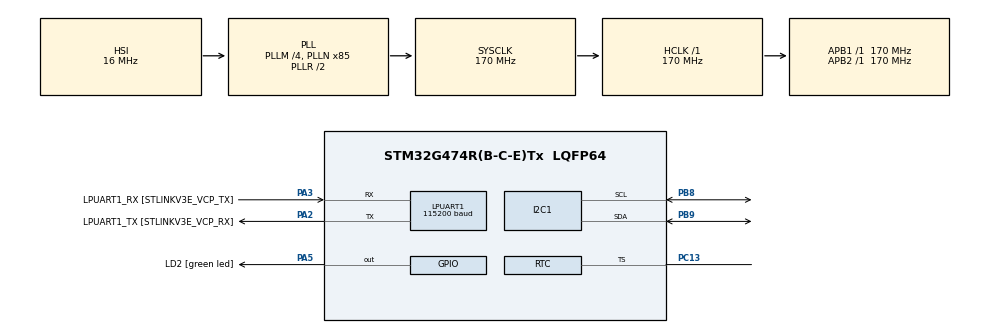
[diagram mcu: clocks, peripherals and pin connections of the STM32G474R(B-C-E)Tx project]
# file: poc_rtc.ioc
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I2C1.Timing=0x30A0A7FB
LPUART1.BaudRate=115200
LPUART1.WordLength=UART_WORDLENGTH_8B
Mcu.Family=STM32G4
Mcu.Name=STM32G474R(B-C-E)Tx
Mcu.Package=LQFP64
NVIC.PriorityGroup=NVIC_PRIORITYGROUP_4
NVIC.RTC_Alarm_IRQn=true\:0\:0\:false\:false\:true\:true\:true\:true
PA13.GPIO_Label=T_SWDIO
PA13.Mode=Serial_Wire
PA13.Signal=SYS_JTMS-SWDIO
PA14.GPIO_Label=T_SWCLK
PA14.Mode=Serial_Wire
PA14.Signal=SYS_JTCK-SWCLK
PA2.GPIO_Label=LPUART1_TX [STLINKV3E_VCP_RX]
PA2.Mode=Asynchronous
PA2.Signal=LPUART1_TX
PA3.GPIO_Label=LPUART1_RX [STLINKV3E_VCP_TX]
PA3.Mode=Asynchronous
PA3.Signal=LPUART1_RX
PA5.GPIO_Label=LD2 [green led]
PA5.Signal=GPIO_Output
PB3.GPIO_Label=T_SWO
PB3.Signal=SYS_JTDO-SWO
PB8-BOOT0.Mode=I2C
PB8-BOOT0.Signal=I2C1_SCL
PB9.Mode=I2C
PB9.Signal=I2C1_SDA
PC13.Mode=Timestamp enabled
PC13.Signal=RTC_TS
PC14-OSC32_IN.Mode=LSE-External-Oscillator
PC14-OSC32_IN.Signal=RCC_OSC32_IN
PC15-OSC32_OUT.Mode=LSE-External-Oscillator
PC15-OSC32_OUT.Signal=RCC_OSC32_OUT
PF0-OSC_IN.Mode=HSE-External-Oscillator
PF0-OSC_IN.Signal=RCC_OSC_IN
PF1-OSC_OUT.Mode=HSE-External-Oscillator
PF1-OSC_OUT.Signal=RCC_OSC_OUT
ProjectManager.HeapSize=0x200
ProjectManager.StackSize=0x400
ProjectManager.TargetToolchain=STM32CubeIDE
RCC.ADC12Freq_Value=170000000
RCC.ADC345Freq_Value=170000000
RCC.AHBFreq_Value=170000000
RCC.APB1Freq_Value=170000000
RCC.APB1TimFreq_Value=170000000
RCC.APB2Freq_Value=170000000
RCC.APB2TimFreq_Value=170000000
RCC.CortexFreq_Value=170000000
RCC.EXTERNAL_CLOCK_VALUE=12288000
RCC.HCLKFreq_Value=170000000
RCC.HSE_VALUE=24000000
RCC.HSI48_VALUE=48000000
RCC.HSI_VALUE=16000000
RCC.PLLM=RCC_PLLM_DIV4
RCC.PLLN=85
RCC.RTCClockSelection=RCC_RTCCLKSOURCE_LSE
RCC.SYSCLKFreq_VALUE=170000000
RCC.SYSCLKSource=RCC_SYSCLKSOURCE_PLLCLK
RCC.USBFreq_Value=170000000
RCC.VCOOutputFreq_Value=340000000
RTC.Alarm-Alarm\ A=RTC_ALARM_A
RTC.AlarmMaskDateWeekDay-Alarm\ A=RTC_ALARMMASK_DATEWEEKDAY
RTC.AlarmMaskHours-Alarm\ A=RTC_ALARMMASK_HOURS
RTC.AlarmMaskMinutes-Alarm\ A=RTC_ALARMMASK_MINUTES
RTC.Date=5
RTC.Hours=23
RTC.Minutes=32
RTC.Month=RTC_MONTH_NOVEMBER
RTC.Seconds_A-Alarm\ A=13
RTC.TimeStampEdge=RTC_TIMESTAMPEDGE_FALLING
RTC.WeekDay=RTC_WEEKDAY_TUESDAY
RTC.Year=24
VP_RTC_VS_RTC_Activate.Mode=RTC_Enabled
VP_RTC_VS_RTC_Alarm_A_Intern.Mode=Alarm A
VP_RTC_VS_RTC_Calendar.Mode=RTC_Calendar
VP_SYS_VS_DBSignals.Mode=DisableDeadBatterySignals
board=NUCLEO-G474RE

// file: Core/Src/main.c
/* USER CODE BEGIN Header */
/**
  ******************************************************************************
  * @file           : main.c
  * @brief          : Main program body
  ******************************************************************************
  * @attention
  *
  * Copyright (c) 2024 STMicroelectronics.
  * All rights reserved.
  *
  * This software is licensed under terms that can be found in the LICENSE file
  * in the root directory of this software component.
  * If no LICENSE file comes with this software, it is provided AS-IS.
  *
  ******************************************************************************
  */
/* USER CODE END Header */
#include "main.h"

/* USER CODE BEGIN Includes */
#include "stdio.h"
#include "ssd1306.h"
#include "ssd1306_fonts.h"
/* USER CODE END Includes */

I2C_HandleTypeDef hi2c1;

UART_HandleTypeDef hlpuart1;

RTC_HandleTypeDef hrtc;

/* USER CODE BEGIN PV */
RTC_DateTypeDef rtc_date;
RTC_TimeTypeDef rtc_time;

char sData[9], sTime[9];
uint8_t cnt = 0;
/* USER CODE END PV */

void SystemClock_Config(void);
static void MX_GPIO_Init(void);
static void MX_LPUART1_UART_Init(void);
static void MX_I2C1_Init(void);
static void MX_RTC_Init(void);

int main(void)
{

  /* MCU Configuration--------------------------------------------------------*/

  /* Reset of all peripherals, Initializes the Flash interface and the Systick. */
  HAL_Init();

  /* Configure the system clock */
  SystemClock_Config();

  /* Initialize all configured peripherals */
  MX_GPIO_Init();
  MX_LPUART1_UART_Init();
  MX_I2C1_Init();
  MX_RTC_Init();
  /* USER CODE BEGIN 2 */
  ssd1306_Init();
  ssd1306_Fill(Black);

  rtc_date = (RTC_DateTypeDef){.WeekDay = 3, .Date = 7, .Month = 11, .Year = 24};
  rtc_time = (RTC_TimeTypeDef){.Hours = 23, .Minutes = 11, .Seconds= 0};

  HAL_RTC_SetDate(&hrtc, &rtc_date, RTC_FORMAT_BIN);
  HAL_RTC_SetTime(&hrtc, &rtc_time, RTC_FORMAT_BIN);
  /* USER CODE END 2 */

  /* Infinite loop */
  /* USER CODE BEGIN WHILE */
  while (1)
  {
	  /** As stated in its comment, HAL_RTC_GetTime() should be called before
	   * HAL_RTC_GetDate() to maintain consistency
	   */
	  HAL_RTC_GetTime(&hrtc, &rtc_time, RTC_FORMAT_BIN);
	  HAL_RTC_GetDate(&hrtc, &rtc_date, RTC_FORMAT_BIN);

	  //HAL_RTCEx_GetTimeStamp(&hrtc, &rtc_time, &rtc_date, RTC_FORMAT_BIN);

	  sprintf(sData, "%02d/%02d/%02d", rtc_date.Date, rtc_date.Month, rtc_date.Year);
	  sprintf(sTime, "%02d:%02d:%02d", rtc_time.Hours, rtc_time.Minutes, rtc_time.Seconds);

	  ssd1306_SetCursor(2, 3);
	  ssd1306_WriteString(sData, Font_7x10, White);

	  ssd1306_SetCursor(2, 20);
	  ssd1306_WriteString(sTime, Font_6x8, White);

	  ssd1306_UpdateScreen();
	  HAL_Delay(1000);

    /* USER CODE END WHILE */

  }
}

void SystemClock_Config(void)
{
  RCC_OscInitTypeDef RCC_OscInitStruct = {0};
  RCC_ClkInitTypeDef RCC_ClkInitStruct = {0};

  /** Configure the main internal regulator output voltage
  */
  HAL_PWREx_ControlVoltageScaling(PWR_REGULATOR_VOLTAGE_SCALE1_BOOST);

  /** Configure LSE Drive Capability
  */
  HAL_PWR_EnableBkUpAccess();
  __HAL_RCC_LSEDRIVE_CONFIG(RCC_LSEDRIVE_LOW);

  /** Initializes the RCC Oscillators according to the specified parameters
  * in the RCC_OscInitTypeDef structure.
  */
  RCC_OscInitStruct.OscillatorType = RCC_OSCILLATORTYPE_HSI|RCC_OSCILLATORTYPE_LSE;
  RCC_OscInitStruct.LSEState = RCC_LSE_ON;
  RCC_OscInitStruct.HSIState = RCC_HSI_ON;
  RCC_OscInitStruct.HSICalibrationValue = RCC_HSICALIBRATION_DEFAULT;
  RCC_OscInitStruct.PLL.PLLState = RCC_PLL_ON;
  RCC_OscInitStruct.PLL.PLLSource = RCC_PLLSOURCE_HSI;
  RCC_OscInitStruct.PLL.PLLM = RCC_PLLM_DIV4;
  RCC_OscInitStruct.PLL.PLLN = 85;
  RCC_OscInitStruct.PLL.PLLP = RCC_PLLP_DIV2;
  RCC_OscInitStruct.PLL.PLLQ = RCC_PLLQ_DIV2;
  RCC_OscInitStruct.PLL.PLLR = RCC_PLLR_DIV2;
  if (HAL_RCC_OscConfig(&RCC_OscInitStruct) != HAL_OK)
  {
    Error_Handler();
  }

  /** Initializes the CPU, AHB and APB buses clocks
  */
  RCC_ClkInitStruct.ClockType = RCC_CLOCKTYPE_HCLK|RCC_CLOCKTYPE_SYSCLK
                              |RCC_CLOCKTYPE_PCLK1|RCC_CLOCKTYPE_PCLK2;
  RCC_ClkInitStruct.SYSCLKSource = RCC_SYSCLKSOURCE_PLLCLK;
  RCC_ClkInitStruct.AHBCLKDivider = RCC_SYSCLK_DIV1;
  RCC_ClkInitStruct.APB1CLKDivider = RCC_HCLK_DIV1;
  RCC_ClkInitStruct.APB2CLKDivider = RCC_HCLK_DIV1;

  if (HAL_RCC_ClockConfig(&RCC_ClkInitStruct, FLASH_LATENCY_4) != HAL_OK)
  {
    Error_Handler();
  }
}

static void MX_I2C1_Init(void)
{

  hi2c1.Instance = I2C1;
  hi2c1.Init.Timing = 0x30A0A7FB;
  hi2c1.Init.OwnAddress1 = 0;
  hi2c1.Init.AddressingMode = I2C_ADDRESSINGMODE_7BIT;
  hi2c1.Init.DualAddressMode = I2C_DUALADDRESS_DISABLE;
  hi2c1.Init.OwnAddress2 = 0;
  hi2c1.Init.OwnAddress2Masks = I2C_OA2_NOMASK;
  hi2c1.Init.GeneralCallMode = I2C_GENERALCALL_DISABLE;
  hi2c1.Init.NoStretchMode = I2C_NOSTRETCH_DISABLE;
  if (HAL_I2C_Init(&hi2c1) != HAL_OK)
  {
    Error_Handler();
  }

  /** Configure Analogue filter
  */
  if (HAL_I2CEx_ConfigAnalogFilter(&hi2c1, I2C_ANALOGFILTER_ENABLE) != HAL_OK)
  {
    Error_Handler();
  }

  /** Configure Digital filter
  */
  if (HAL_I2CEx_ConfigDigitalFilter(&hi2c1, 0) != HAL_OK)
  {
    Error_Handler();
  }

}

static void MX_LPUART1_UART_Init(void)
{

  hlpuart1.Instance = LPUART1;
  hlpuart1.Init.BaudRate = 115200;
  hlpuart1.Init.WordLength = UART_WORDLENGTH_8B;
  hlpuart1.Init.StopBits = UART_STOPBITS_1;
  hlpuart1.Init.Parity = UART_PARITY_NONE;
  hlpuart1.Init.Mode = UART_MODE_TX_RX;
  hlpuart1.Init.HwFlowCtl = UART_HWCONTROL_NONE;
  hlpuart1.Init.OneBitSampling = UART_ONE_BIT_SAMPLE_DISABLE;
  hlpuart1.Init.ClockPrescaler = UART_PRESCALER_DIV1;
  hlpuart1.AdvancedInit.AdvFeatureInit = UART_ADVFEATURE_NO_INIT;
  if (HAL_UART_Init(&hlpuart1) != HAL_OK)
  {
    Error_Handler();
  }
  if (HAL_UARTEx_SetTxFifoThreshold(&hlpuart1, UART_TXFIFO_THRESHOLD_1_8) != HAL_OK)
  {
    Error_Handler();
  }
  if (HAL_UARTEx_SetRxFifoThreshold(&hlpuart1, UART_RXFIFO_THRESHOLD_1_8) != HAL_OK)
  {
    Error_Handler();
  }
  if (HAL_UARTEx_DisableFifoMode(&hlpuart1) != HAL_OK)
  {
    Error_Handler();
  }

}

static void MX_RTC_Init(void)
{

  RTC_TimeTypeDef sTime = {0};
  RTC_DateTypeDef sDate = {0};
  RTC_AlarmTypeDef sAlarm = {0};

  /** Initialize RTC Only
  */
  hrtc.Instance = RTC;
  hrtc.Init.HourFormat = RTC_HOURFORMAT_24;
  hrtc.Init.AsynchPrediv = 127;
  hrtc.Init.SynchPrediv = 255;
  hrtc.Init.OutPut = RTC_OUTPUT_DISABLE;
  hrtc.Init.OutPutRemap = RTC_OUTPUT_REMAP_NONE;
  hrtc.Init.OutPutPolarity = RTC_OUTPUT_POLARITY_HIGH;
  hrtc.Init.OutPutType = RTC_OUTPUT_TYPE_OPENDRAIN;
  hrtc.Init.OutPutPullUp = RTC_OUTPUT_PULLUP_NONE;
  if (HAL_RTC_Init(&hrtc) != HAL_OK)
  {
    Error_Handler();
  }

  /** Initialize RTC and set the Time and Date
  */
  sTime.Hours = 0x23;
  sTime.Minutes = 0x32;
  sTime.Seconds = 0x0;
  sTime.SubSeconds = 0x0;
  sTime.DayLightSaving = RTC_DAYLIGHTSAVING_NONE;
  sTime.StoreOperation = RTC_STOREOPERATION_RESET;
  if (HAL_RTC_SetTime(&hrtc, &sTime, RTC_FORMAT_BCD) != HAL_OK)
  {
    Error_Handler();
  }
  sDate.WeekDay = RTC_WEEKDAY_TUESDAY;
  sDate.Month = RTC_MONTH_NOVEMBER;
  sDate.Date = 0x5;
  sDate.Year = 0x24;
  if (HAL_RTC_SetDate(&hrtc, &sDate, RTC_FORMAT_BCD) != HAL_OK)
  {
    Error_Handler();
  }

  /** Enable the Alarm A
  */
  sAlarm.AlarmTime.Hours = 0x0;
  sAlarm.AlarmTime.Minutes = 0x0;
  sAlarm.AlarmTime.Seconds = 0x13;
  sAlarm.AlarmTime.SubSeconds = 0x0;
  sAlarm.AlarmMask = RTC_ALARMMASK_DATEWEEKDAY|RTC_ALARMMASK_HOURS
                              |RTC_ALARMMASK_MINUTES;
  sAlarm.AlarmSubSecondMask = RTC_ALARMSUBSECONDMASK_ALL;
  sAlarm.AlarmDateWeekDaySel = RTC_ALARMDATEWEEKDAYSEL_DATE;
  sAlarm.AlarmDateWeekDay = 0x1;
  sAlarm.Alarm = RTC_ALARM_A;
  if (HAL_RTC_SetAlarm_IT(&hrtc, &sAlarm, RTC_FORMAT_BCD) != HAL_OK)
  {
    Error_Handler();
  }

  /** Enable the TimeStamp
  */
  if (HAL_RTCEx_SetTimeStamp(&hrtc, RTC_TIMESTAMPEDGE_FALLING, RTC_TIMESTAMPPIN_DEFAULT) != HAL_OK)
  {
    Error_Handler();
  }

}

static void MX_GPIO_Init(void)
{
  GPIO_InitTypeDef GPIO_InitStruct = {0};

  /* GPIO Ports Clock Enable */
  __HAL_RCC_GPIOC_CLK_ENABLE();
  __HAL_RCC_GPIOF_CLK_ENABLE();
  __HAL_RCC_GPIOA_CLK_ENABLE();
  __HAL_RCC_GPIOB_CLK_ENABLE();

  /*Configure GPIO pin Output Level */
  HAL_GPIO_WritePin(LD2_GPIO_Port, LD2_Pin, GPIO_PIN_RESET);

  /*Configure GPIO pin : LD2_Pin */
  GPIO_InitStruct.Pin = LD2_Pin;
  GPIO_InitStruct.Mode = GPIO_MODE_OUTPUT_PP;
  GPIO_InitStruct.Pull = GPIO_NOPULL;
  GPIO_InitStruct.Speed = GPIO_SPEED_FREQ_LOW;
  HAL_GPIO_Init(LD2_GPIO_Port, &GPIO_InitStruct);

}

/* USER CODE BEGIN 4 */
void HAL_RTC_AlarmAEventCallback(RTC_HandleTypeDef *hrtc) {

  RTC_AlarmTypeDef sAlarm;
  char sTime_Alarm[9], scnt[2];

  HAL_RTC_GetAlarm(hrtc, &sAlarm, RTC_ALARM_A, RTC_FORMAT_BIN);

  sprintf(sTime_Alarm, "%02d:%02d:%02d", sAlarm.AlarmTime.Hours,
		  sAlarm.AlarmTime.Minutes, sAlarm.AlarmTime.Seconds);
  sprintf(scnt, "%d", cnt++);

  ssd1306_SetCursor(2, 35);
  ssd1306_WriteString(sTime_Alarm, Font_6x8, White);
  ssd1306_SetCursor(2, 45);
  ssd1306_WriteString(scnt, Font_6x8, White);
  ssd1306_UpdateScreen();

  /*if(sAlarm.AlarmTime.Seconds>58) {
    sAlarm.AlarmTime.Seconds=0;
  }else{
    sAlarm.AlarmTime.Seconds=sAlarm.AlarmTime.Seconds+1;
  }
    while(HAL_RTC_SetAlarm_IT(hrtc, &sAlarm, FORMAT_BIN)!=HAL_OK){}*/
  HAL_GPIO_TogglePin(LD2_GPIO_Port, LD2_Pin);
}
/* USER CODE END 4 */

void Error_Handler(void)
{
  __disable_irq();
  while (1)
  {
  }
}
